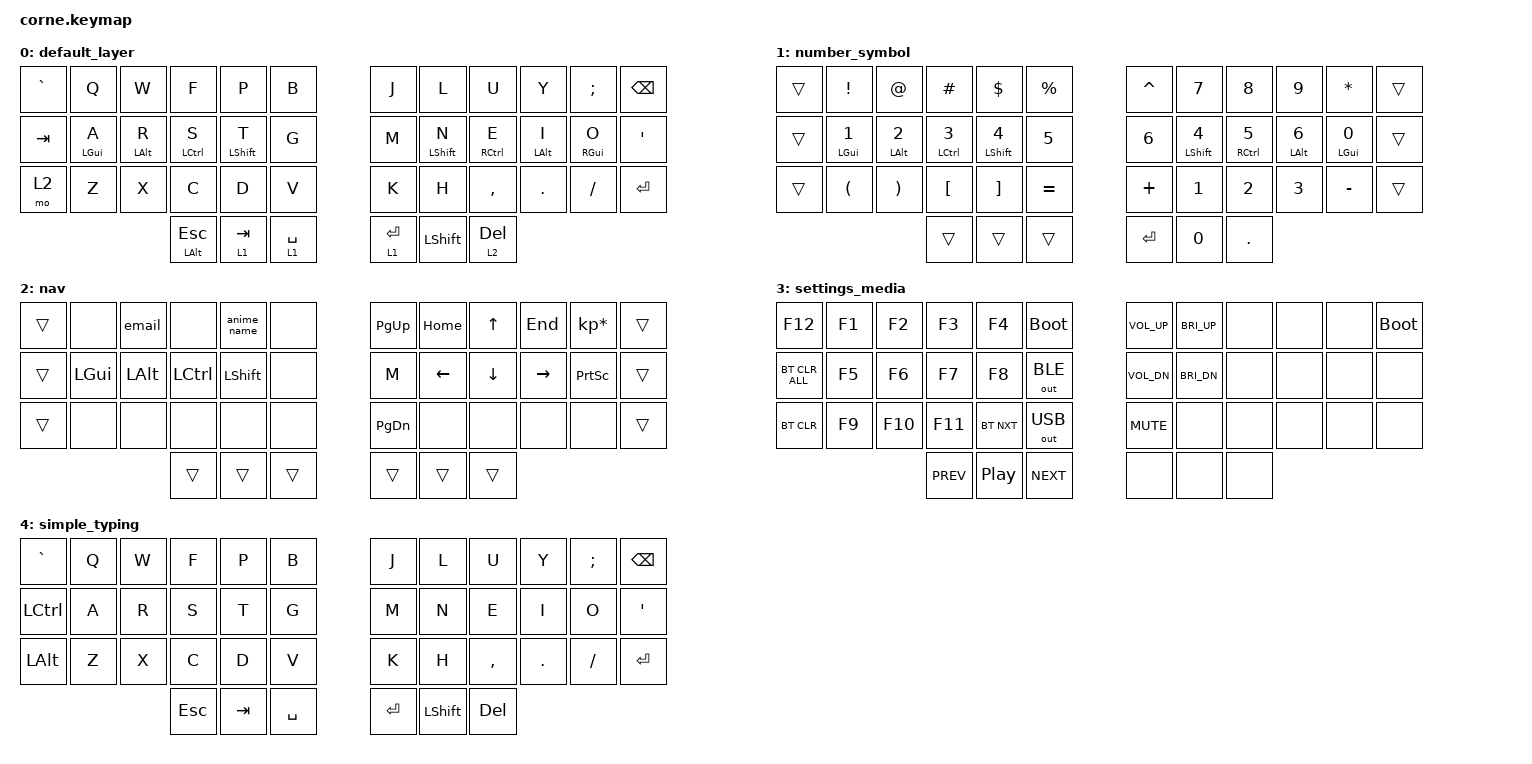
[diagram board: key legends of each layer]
#include <behaviors.dtsi>
#include <dt-bindings/zmk/bt.h>
#include <dt-bindings/zmk/keys.h>
#include <dt-bindings/zmk/outputs.h>

// Define KEYS_L and KEYS_R for hold-tap behaviors
#define KEYS_L LT0 LT1 LT2 LT3 LT4 LT5 LM0 LM1 LM2 LM3 LM4 LM5 LB0 LB1 LB2 LB3 LB4 LB5 LH0 LH1 LH2  // left-hand keys
#define KEYS_R RT0 RT1 RT2 RT3 RT4 RT5 RM0 RM1 RM2 RM3 RM4 RM5 RB0 RB1 RB2 RB3 RB4 RB5 RH0 RH1 RH2  // right-hand keys
#define KEYS_T LH0 LH1 LH2 RH0 RH1 RH2  // thumb keys
#define THUMBS LH0 LH1 LH2 RH0 RH1 RH2

// Timing defines
#define HM_TAPPING_TERM 300
#define HM_TAPPING_TERM_FAST 200
#define HM_PRIOR_IDLE 150
#define TD_TAPPING_TERM 300

// Navigation shortcuts (macOS/Linux compatible)
#define MY_LEFT_W LA(LEFT)
#define MY_LEFT_L LG(LEFT)
#define MY_RIGHT_W LA(RIGHT)
#define MY_RIGHT_L LG(RIGHT)

// HYPER and MEH
#define MY_HYPER LS(LC(LG(LALT)))
#define MY_MEH LC(LG(LALT))

// Common shortcuts
#define MY_UNDO LG(Z)
#define MY_REDO LS(LG(Z))
#define MY_CUT LG(X)
#define MY_COPY LG(C)
#define MY_PASTE LG(V)

/ {
    behaviors {
        // ===== HOMEROW MODS BEHAVIORS =====
        
        // Positional homerow mods (left hand)
        hm_l: homerow_mods_left {
            compatible = "zmk,behavior-hold-tap";
            #binding-cells = <2>;
            bindings = <&kp>, <&kp>;
            flavor = "balanced";
            tapping-term-ms = <HM_TAPPING_TERM>;
            quick-tap-ms = <175>;
            require-prior-idle-ms = <HM_PRIOR_IDLE>;
            hold-trigger-key-positions = <KEYS_R KEYS_T>;
            hold-trigger-on-release;
        };

        // Positional homerow mods (right hand)
        hm_r: homerow_mods_right {
            compatible = "zmk,behavior-hold-tap";
            #binding-cells = <2>;
            bindings = <&kp>, <&kp>;
            flavor = "balanced";
            tapping-term-ms = <HM_TAPPING_TERM>;
            quick-tap-ms = <175>;
            require-prior-idle-ms = <HM_PRIOR_IDLE>;
            hold-trigger-key-positions = <KEYS_L KEYS_T>;
            hold-trigger-on-release;
        };

        // Positional homerow mods for shift (left)
        hm_shift_l: hm_shift_l {
            compatible = "zmk,behavior-hold-tap";
            #binding-cells = <2>;
            bindings = <&kp>, <&kp>;
            flavor = "balanced";
            tapping-term-ms = <HM_TAPPING_TERM_FAST>;
            quick-tap-ms = <175>;
            require-prior-idle-ms = <HM_PRIOR_IDLE>;
            hold-trigger-key-positions = <KEYS_R KEYS_T>;
        };

        // Positional homerow mods for shift (right)
        hm_shift_r: hm_shift_r {
            compatible = "zmk,behavior-hold-tap";
            #binding-cells = <2>;
            bindings = <&kp>, <&kp>;
            flavor = "balanced";
            tapping-term-ms = <HM_TAPPING_TERM_FAST>;
            quick-tap-ms = <175>;
            require-prior-idle-ms = <HM_PRIOR_IDLE>;
            hold-trigger-key-positions = <KEYS_L KEYS_T>;
        };

        // Non-positional homerow mods (for special cases)
        hm: homerow_mods {
            compatible = "zmk,behavior-hold-tap";
            #binding-cells = <2>;
            bindings = <&kp>, <&kp>;
            flavor = "balanced";
            tapping-term-ms = <HM_TAPPING_TERM>;
            quick-tap-ms = <200>;
        };

        // Original behaviors (for compatibility)
        bhml: balanced_homerow_mods_left {
            compatible = "zmk,behavior-hold-tap";
            #binding-cells = <2>;
            tapping-term-ms = <280>;
            quick-tap-ms = <125>;
            flavor = "balanced";
            bindings = <&kp>, <&kp>;
            hold-trigger-key-positions = <KEYS_R THUMBS>;
            global-quick-tap;
            hold-trigger-on-release;
        };

        bhmr: balanced_homerow_mods_right {
            compatible = "zmk,behavior-hold-tap";
            #binding-cells = <2>;
            tapping-term-ms = <280>;
            quick-tap-ms = <125>;
            flavor = "balanced";
            bindings = <&kp>, <&kp>;
            hold-trigger-key-positions = <KEYS_L THUMBS>;
            global-quick-tap;
            hold-trigger-on-release;
        };

        // ===== MOD MORPH BEHAVIORS =====

        // Auto mod (tap preferred hold-tap)
        am: auto_mod {
            compatible = "zmk,behavior-hold-tap";
            #binding-cells = <2>;
            tapping-term-ms = <300>;
            quick-tap-ms = <0>;
            flavor = "tap-preferred";
            bindings = <&kp>, <&kp>;
        };
    };

    macros {
        // Essential macros only
        email: email_macro {
            compatible = "zmk,behavior-macro";
            #binding-cells = <0>;
            bindings = <&kp A &kp B &kp H &kp A &kp Y &kp N5 &kp N2 &kp N4 &kp N3 &kp N1 &kp AT &kp G &kp M &kp A &kp I &kp L &kp DOT &kp C &kp O &kp M>;
        };

        anime_name: anime_name_macro {
            compatible = "zmk,behavior-macro";
            #binding-cells = <0>;
            bindings = <&kp LS(A) &kp N &kp I &kp M &kp E &kp COLON &kp SPACE &kp RET &kp LS(S) &kp O &kp N &kp G &kp COLON &kp SPACE>;
        };
    };

    combos {
        compatible = "zmk,combos";

        settings_layer {
            bindings = <&mo 3>;
            key-positions = <0 1>;
            layers = <0 1 2 3>;
            timeout-ms = <50>;
        };

        copy {
            bindings = <&kp LC(C)>;
            key-positions = <15 14>;
            layers = <0 1 2 3>;
        };

        paste {
            bindings = <&kp LC(V)>;
            key-positions = <15 16>;
            layers = <0 1 2 3>;
        };

        enter {
            bindings = <&kp ENTER>;
            key-positions = <26 29>;
            layers = <0 1 2 3>;
        };

        undo {
            bindings = <&kp LC(Z)>;
            key-positions = <13 14>;
            layers = <0 1 2 3>;
        };

        redo {
            bindings = <&kp LC(LS(Z))>;
            key-positions = <13 15>;
            layers = <0 1 2 3>;
        };

        typing {
            bindings = <&tog 4>;
            key-positions = <36 41>;
            layers = <0 1 2 3>;
        };

        close {
            bindings = <&kp LA(F4)>;
            key-positions = <4 2>;
            layers = <0 1 2 3>;
        };

        closew {
            bindings = <&kp LC(W)>;
            key-positions = <3 5>;
            layers = <0 1 2 3>;
        };

        taskmanager {
            bindings = <&kp LC(LS(ESCAPE))>;
            key-positions = <0 12>;
            layers = <0 1 2 3>;
        };

        del2 {
            bindings = <&kp DEL>;
            key-positions = <4 27>;
            layers = <0 1 2 3>;
        };

        cut {
            bindings = <&kp LC(X)>;
            key-positions = <14 16>;
            layers = <0 1 2 3>;
        };

        find {
            bindings = <&kp LC(F)>;
            key-positions = <3 26>;
            layers = <0 1 2 3>;
        };

        all {
            bindings = <&kp LC(A)>;
            key-positions = <12 13>;
            layers = <0 1 2 3>;
        };
    };

    keymap {
        compatible = "zmk,keymap";

        default_layer {
            bindings = <
                &kp GRAVE     &kp Q         &kp W         &kp F         &kp P         &kp B             &kp J         &kp L         &kp U         &kp Y         &kp SEMI      &kp BACKSPACE
                &kp TAB       &bhml LGUI A  &bhml LALT R  &bhml LCTRL S &bhml LSHFT T &kp G             &kp M         &bhmr LSHFT N &bhmr RCTRL E &bhmr LALT I  &bhmr RGUI O  &kp APOS
                &mo 2         &kp Z         &kp X         &kp C         &kp D         &kp V             &kp K         &kp H         &kp COMMA     &kp DOT       &kp FSLH      &kp ENTER
                                                          &mt LALT ESC  &lt 1 TAB     &lt 1 SPACE      &lt 1 ENTER   &kp LSHFT     &lt 2 DEL
            >;
        };

        number_symbol {
            bindings = <
                &trans        &kp EXCL      &kp AT        &kp HASH      &kp DLLR      &kp PRCNT         &kp CARET     &kp N7        &kp N8        &kp N9        &kp ASTRK     &trans
                &trans        &bhml LGUI N1 &bhml LALT N2 &bhml LCTRL N3 &bhml LSHFT N4 &kp N5           &kp N6        &bhmr LSHFT N4 &bhmr RCTRL N5 &bhmr LALT N6 &bhmr LGUI N0 &trans
                &trans        &kp LPAR      &kp RPAR      &kp LBKT      &kp RBKT      &kp EQUAL         &kp PLUS      &kp N1        &kp N2        &kp N3        &kp MINUS     &trans
                                                          &trans        &trans        &trans            &kp ENTER     &kp N0        &kp DOT
            >;
        };

        nav {
            bindings = <
                &trans        &none         &email        &none         &anime_name   &none             &kp PAGE_UP   &kp HOME      &kp UP        &kp END       &kp KP_ASTERISK &trans
                &trans        &kp LGUI      &kp LALT      &kp LCTRL     &kp LSHFT     &none             &kp M         &kp LEFT      &kp DOWN      &kp RIGHT     &kp PRINTSCREEN &trans
                &trans        &none         &none         &none         &none         &none             &kp PAGE_DOWN &none         &none         &none         &none         &trans
                                                          &trans        &trans        &trans            &trans        &trans        &trans
            >;
        };

        settings_media {
            bindings = <
                &kp F12       &kp F1        &kp F2        &kp F3        &kp F4        &bootloader       &kp C_VOL_UP  &kp C_BRI_UP  &none         &none         &none         &bootloader
                &bt BT_CLR_ALL &kp F5       &kp F6        &kp F7        &kp F8        &out OUT_BLE      &kp C_VOL_DN  &kp C_BRI_DN  &none         &none         &none         &none
                &bt BT_CLR    &kp F9        &kp F10       &kp F11       &bt BT_NXT    &out OUT_USB      &kp C_MUTE    &none         &none         &none         &none         &none
                                                          &kp C_PREV    &kp C_PP      &kp C_NEXT        &none         &none         &none
            >;
        };

        simple_typing {
            bindings = <
                &kp GRAVE     &kp Q         &kp W         &kp F         &kp P         &kp B             &kp J         &kp L         &kp U         &kp Y         &kp SEMI      &kp BSPC
                &kp LCTRL     &kp A         &kp R         &kp S         &kp T         &kp G             &kp M         &kp N         &kp E         &kp I         &kp O         &kp APOS
                &kp LALT      &kp Z         &kp X         &kp C         &kp D         &kp V             &kp K         &kp H         &kp COMMA     &kp DOT       &kp FSLH      &kp ENTER
                                                          &kp ESC       &kp TAB       &kp SPACE         &kp ENTER     &kp LSHFT     &kp DEL
            >;
        };
    };

    // ===== ADVANCED SETTINGS =====
    // Fixed build errors - should compile successfully now

    // Layer tap settings
    &lt {
        tapping-term-ms = <300>;
        quick-tap-ms = <200>;
        flavor = "balanced";
    };

    // Caps word settings
    &caps_word {
        continue-list = <
            UNDERSCORE MINUS
            LCTRL LALT LGUI LSHFT
            RCTRL RALT RGUI RSHFT
            BACKSPACE
        >;
    };

    // ===== BEHAVIOR HELPER MACROS =====
    #define AM(hold_keycode, tap_keycode) &am hold_keycode tap_keycode
    #define AS(keycode) &am LS(keycode) keycode

    // ===== LAYER DEFINITIONS =====
};
